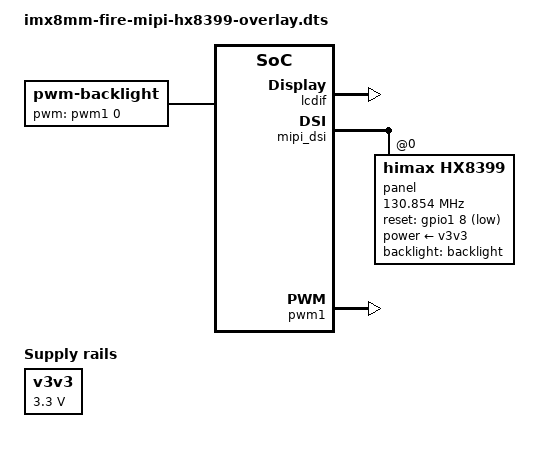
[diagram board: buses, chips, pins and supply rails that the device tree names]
/*
 * Copyright (C) 2021 - All Rights Reserved by 
 * filename : imx8mm-fire-mipi-overlay.dts
 * brief : Device Tree overlay for ebf imx8mm hx8394 lcd device
 * author : embedfire
 * date : 2023-02-05 
 * version : A001
 */

/dts-v1/;
/plugin/;

#include "../imx8mm-pinfunc.h"
#include "dt-bindings/gpio/gpio.h"

/ {
    fragment@0 {
        target-path = "/";
        __overlay__ {
            v3v3: regulator-3p3v {
                compatible = "regulator-fixed";
                regulator-name = "v3v3";
                regulator-min-microvolt = <3300000>;
                regulator-max-microvolt = <3300000>;
                regulator-always-on;
                regulator-boot-on;
            };

            backlight:backlight{
                compatible = "pwm-backlight";
                pwms = <&pwm1 0 50000>;
                status = "okay";

                brightness-levels = < 0  1  2  3  4  5  6  7  8  9
                                      10 11 12 13 14 15 16 17 18 19
                                      20 21 22 23 24 25 26 27 28 29
                                      30 31 32 33 34 35 36 37 38 39
                                      40 41 42 43 44 45 46 47 48 49
                                      50 51 52 53 54 55 56 57 58 59
                                      60 61 62 63 64 65 66 67 68 69
                                      70 71 72 73 74 75 76 77 78 79
                                      80 81 82 83 84 85 86 87 88 89
                                      90 91 92 93 94 95 96 97 98 99
                                      100>;
                 default-brightness-level = <80>;
            };
        };
    };

    fragment@1 {
        target= <&lcdif>;
        __overlay__{
            status = "okay";
        };
    };

	fragment@2 {
		target= <&mipi_dsi>;
		__overlay__{
			status = "okay";
			#address-cells = <1>;
        	#size-cells = <0>;
			panel@0 {
				compatible = "himax,hx8399";
				reg = <0>;
                pinctrl-names = "default";
				pinctrl-0 = <&dsi_rst>;
				reset-gpios = <&gpio1 8 GPIO_ACTIVE_LOW>;
				power-supply = <&v3v3>;
				backlight = <&backlight>;

                clock-frequency = <130854000>;
                hactive = <1080>;
                vactive = <1920>;
                hfront-porch = <35>;
                hback-porch = <10>;
                hsync-len = <5>;
                hsync-active = <0>;
                vfront-porch = <4>;
                vback-porch = <4>;
                vsync-len = <2>;
                vsync-active = <0>;
                vrefresh = <60>;

				status = "okay";
			};
		};
	};


	fragment@3 {
         target= <&pwm1>;
         __overlay__{
             pinctrl-names = "default";
             pinctrl-0 = <&pinctrl_pwm1>;
             status = "okay";
        };
    };

    fragment@4 {
         target= <&iomuxc>;
         __overlay__{
            pinctrl_pwm1:pwm1grp {
                fsl,pins = <
                    MX8MM_IOMUXC_GPIO1_IO01_PWM1_OUT   0x116
                    >;
                };
		    dsi_rst:dsi_rst {
			    fsl,pins = <
				    MX8MM_IOMUXC_GPIO1_IO08_GPIO1_IO8  0x116
				>;
		    };
         };
    };
};
